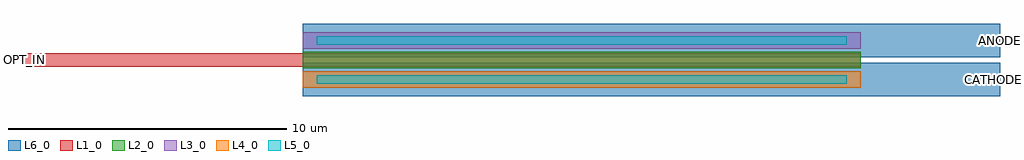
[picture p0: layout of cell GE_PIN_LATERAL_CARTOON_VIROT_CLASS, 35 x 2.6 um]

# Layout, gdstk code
import gdstk
lib = gdstk.Library(unit=1e-6, precision=1e-09)
def R(c, l, rs):  # rectangles x0, y0, x1, y1
    for r in rs: c.add(gdstk.rectangle(r[:2], r[2:], *l))
L1_0 = (1, 0)
L2_0 = (2, 0)
L3_0 = (3, 0)
L4_0 = (4, 0)
L5_0 = (5, 0)
L6_0 = (6, 0)

ge_pin_lateral_cartoon_v = lib.new_cell('GE_PIN_LATERAL_CARTOON_VIROT_CLASS')
R(ge_pin_lateral_cartoon_v, L1_0, [(-10,-0.25,20,0.25)])
R(ge_pin_lateral_cartoon_v, L2_0, [(0,-0.3,20,0.3)])
R(ge_pin_lateral_cartoon_v, L3_0, [(0,0.4,20,1)])
R(ge_pin_lateral_cartoon_v, L4_0, [(0,-1,20,-0.4)])
R(ge_pin_lateral_cartoon_v, L5_0, [(0.5,-0.85,19.5,-0.55), (0.5,0.55,19.5,0.85)])
R(ge_pin_lateral_cartoon_v, L6_0, [(0,-1.3,25,-0.1), (0,0.1,25,1.3)])
ge_pin_lateral_cartoon_v.add(gdstk.Label('OPT_IN', (-10,0), layer=10, texttype=0))
ge_pin_lateral_cartoon_v.add(gdstk.Label('ANODE', (25,0.7), layer=10, texttype=0))
ge_pin_lateral_cartoon_v.add(gdstk.Label('CATHODE', (25,-0.7), layer=10, texttype=0))

lib.write_gds('GE_PIN_LATERAL_CARTOON_VIROT_CLASS.gds')
